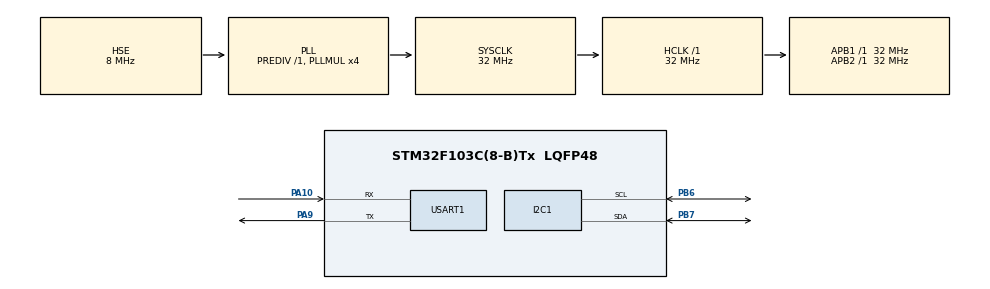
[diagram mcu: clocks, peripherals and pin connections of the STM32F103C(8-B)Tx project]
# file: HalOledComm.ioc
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Mcu.Family=STM32F1
Mcu.Name=STM32F103C(8-B)Tx
Mcu.Package=LQFP48
NVIC.PriorityGroup=NVIC_PRIORITYGROUP_4
NVIC.USART1_IRQn=true\:0\:0\:false\:false\:true\:true\:true
PA10.Mode=Asynchronous
PA10.Signal=USART1_RX
PA13.Mode=Serial_Wire
PA13.Signal=SYS_JTMS-SWDIO
PA14.Mode=Serial_Wire
PA14.Signal=SYS_JTCK-SWCLK
PA9.Mode=Asynchronous
PA9.Signal=USART1_TX
PB6.Mode=I2C
PB6.Signal=I2C1_SCL
PB7.Mode=I2C
PB7.Signal=I2C1_SDA
PD0-OSC_IN.Mode=HSE-External-Oscillator
PD0-OSC_IN.Signal=RCC_OSC_IN
PD1-OSC_OUT.Mode=HSE-External-Oscillator
PD1-OSC_OUT.Signal=RCC_OSC_OUT
ProjectManager.HeapSize=0x200
ProjectManager.StackSize=0x400
ProjectManager.TargetToolchain=Makefile
RCC.AHBFreq_Value=32000000
RCC.APB1Freq_Value=32000000
RCC.APB1TimFreq_Value=32000000
RCC.APB2Freq_Value=32000000
RCC.APB2TimFreq_Value=32000000
RCC.HCLKFreq_Value=32000000
RCC.PLLMUL=RCC_PLL_MUL4
RCC.PLLSourceVirtual=RCC_PLLSOURCE_HSE
RCC.SYSCLKFreq_VALUE=32000000
RCC.SYSCLKSource=RCC_SYSCLKSOURCE_PLLCLK
RCC.USBFreq_Value=32000000
USART1.VirtualMode=VM_ASYNC
board=custom

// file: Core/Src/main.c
/* USER CODE BEGIN Header */
/**
  ******************************************************************************
  * @file           : main.c
  * @brief          : Main program body
  ******************************************************************************
  * @attention
  *
  * <h2><center>&copy; Copyright (c) 2021 STMicroelectronics.
  * All rights reserved.</center></h2>
  *
  * This software component is licensed by ST under BSD 3-Clause license,
  * the "License"; You may not use this file except in compliance with the
  * License. You may obtain a copy of the License at:
  *                        opensource.org/licenses/BSD-3-Clause
  *
  ******************************************************************************
  */
/* USER CODE END Header */
#include "main.h"

/* USER CODE BEGIN Includes */
#include "oled.h"
#include <string.h>
/* USER CODE END Includes */

I2C_HandleTypeDef hi2c1;

UART_HandleTypeDef huart1;

/* USER CODE BEGIN PV */
#define buff_len COLS_PER_PAGE*PAGES_PER_SCREEN //128*4
uint8_t img_buffer[COLS_PER_PAGE*PAGES_PER_SCREEN];
/* USER CODE END PV */

void SystemClock_Config(void);
static void MX_GPIO_Init(void);
static void MX_I2C1_Init(void);
static void MX_USART1_UART_Init(void);

int main(void)
{

  /* MCU Configuration--------------------------------------------------------*/

  /* Reset of all peripherals, Initializes the Flash interface and the Systick. */
  HAL_Init();

  /* Configure the system clock */
  SystemClock_Config();

  /* Initialize all configured peripherals */
  MX_GPIO_Init();
  MX_I2C1_Init();
  MX_USART1_UART_Init();
  /* USER CODE BEGIN 2 */
  __HAL_UART_ENABLE_IT(&huart1, UART_IT_RXNE);
  initOled();
  // Set whole buffer as black
  for(int j=0; j < buff_len; j++)
  {
    img_buffer[j]=0x00;
  }

  /* USER CODE END 2 */

  /* Infinite loop */
  while (1)
  {

  }
}

void SystemClock_Config(void)
{
  RCC_OscInitTypeDef RCC_OscInitStruct = {0};
  RCC_ClkInitTypeDef RCC_ClkInitStruct = {0};

  /** Initializes the RCC Oscillators according to the specified parameters
  * in the RCC_OscInitTypeDef structure.
  */
  RCC_OscInitStruct.OscillatorType = RCC_OSCILLATORTYPE_HSE;
  RCC_OscInitStruct.HSEState = RCC_HSE_ON;
  RCC_OscInitStruct.HSEPredivValue = RCC_HSE_PREDIV_DIV1;
  RCC_OscInitStruct.HSIState = RCC_HSI_ON;
  RCC_OscInitStruct.PLL.PLLState = RCC_PLL_ON;
  RCC_OscInitStruct.PLL.PLLSource = RCC_PLLSOURCE_HSE;
  RCC_OscInitStruct.PLL.PLLMUL = RCC_PLL_MUL4;
  if (HAL_RCC_OscConfig(&RCC_OscInitStruct) != HAL_OK)
  {
    Error_Handler();
  }
  /** Initializes the CPU, AHB and APB buses clocks
  */
  RCC_ClkInitStruct.ClockType = RCC_CLOCKTYPE_HCLK|RCC_CLOCKTYPE_SYSCLK
                              |RCC_CLOCKTYPE_PCLK1|RCC_CLOCKTYPE_PCLK2;
  RCC_ClkInitStruct.SYSCLKSource = RCC_SYSCLKSOURCE_PLLCLK;
  RCC_ClkInitStruct.AHBCLKDivider = RCC_SYSCLK_DIV1;
  RCC_ClkInitStruct.APB1CLKDivider = RCC_HCLK_DIV1;
  RCC_ClkInitStruct.APB2CLKDivider = RCC_HCLK_DIV1;

  if (HAL_RCC_ClockConfig(&RCC_ClkInitStruct, FLASH_LATENCY_1) != HAL_OK)
  {
    Error_Handler();
  }
}

static void MX_I2C1_Init(void)
{

  hi2c1.Instance = I2C1;
  hi2c1.Init.ClockSpeed = 100000;
  hi2c1.Init.DutyCycle = I2C_DUTYCYCLE_2;
  hi2c1.Init.OwnAddress1 = 0;
  hi2c1.Init.AddressingMode = I2C_ADDRESSINGMODE_7BIT;
  hi2c1.Init.DualAddressMode = I2C_DUALADDRESS_DISABLE;
  hi2c1.Init.OwnAddress2 = 0;
  hi2c1.Init.GeneralCallMode = I2C_GENERALCALL_DISABLE;
  hi2c1.Init.NoStretchMode = I2C_NOSTRETCH_DISABLE;
  if (HAL_I2C_Init(&hi2c1) != HAL_OK)
  {
    Error_Handler();
  }

}

static void MX_USART1_UART_Init(void)
{

  huart1.Instance = USART1;
  huart1.Init.BaudRate = 115200;
  huart1.Init.WordLength = UART_WORDLENGTH_8B;
  huart1.Init.StopBits = UART_STOPBITS_1;
  huart1.Init.Parity = UART_PARITY_NONE;
  huart1.Init.Mode = UART_MODE_TX_RX;
  huart1.Init.HwFlowCtl = UART_HWCONTROL_NONE;
  huart1.Init.OverSampling = UART_OVERSAMPLING_16;
  if (HAL_UART_Init(&huart1) != HAL_OK)
  {
    Error_Handler();
  }

}

static void MX_GPIO_Init(void)
{

  /* GPIO Ports Clock Enable */
  __HAL_RCC_GPIOD_CLK_ENABLE();
  __HAL_RCC_GPIOA_CLK_ENABLE();
  __HAL_RCC_GPIOB_CLK_ENABLE();

}

/* USER CODE BEGIN 4 */

void USART1_IRQHandler(void)
{
  static unsigned int idx=0;
  char tmp;
  if(USART1->SR & USART_SR_RXNE)
  {
    //Could also use huart->instance->SR/DR etc
    // Data read from DR is from receving RDR
    // Data written into DR is transmitted TDR
    // Reading to this register also unsets required int flags
    // Actually two registers internally
    tmp = USART1->DR;
    USART1->DR = tmp;

    if (idx < buff_len -1) {
      if (tmp == 'v') {
        // Render
        idx = 0 ;
        write_data_oled(img_buffer,buff_len);
      }
      else {
        img_buffer[idx] = tmp;
        idx ++;
      }
    }
    else  {
      // Overflowing rewind.
      idx = 0;
      write_data_oled(img_buffer,buff_len);
    }
  }

  return;
}
/* USER CODE END 4 */

void Error_Handler(void)
{
  __disable_irq();
  while (1)
  {
  }
}

/************************ (C) COPYRIGHT STMicroelectronics *****END OF FILE****/
